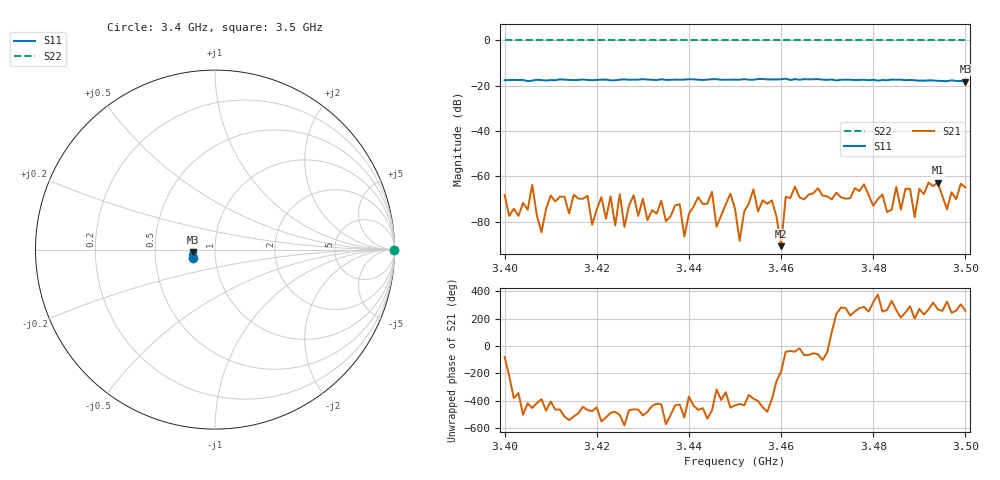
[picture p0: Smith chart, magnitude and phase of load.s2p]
!Created with skrf (http://scikit-rf.org).
# MHz S RI R 50.0
!freq ReS11 ImS11 ReS21 ImS21 ReS12 ImS12 ReS22 ImS22
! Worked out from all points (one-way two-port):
!   101 points, 3.4 GHz to 3.5 GHz, reference 50 ohm
!   highest |S21| = -62.74 dB at 3.494 GHz (marker M1); lowest = -90.8 dB at 3.46 GHz (marker M2)
!   lowest |S11| = -18.1 dB at 3.5 GHz (marker M3), VSWR 1.28, Z = 39 - j1.02 ohm
!   |S11| at or under -10 dB: start of sweep to end of sweep
!   |S22| runs from 0.0 to 0.0 dB; largest |S21 - S12| = 0.00073
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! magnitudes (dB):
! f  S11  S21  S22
! 3.4 GHz  -17.5  -68.2  0.0
! 3.403 GHz  -17.5  -77.5  0.0
! 3.406 GHz  -17.7  -63.8  0.0
! 3.408 GHz  -17.5  -84.7  0.0
! 3.417 GHz  -17.2  -69.9  0.0
! 3.419 GHz  -17.5  -81.4  0.0
! 3.421 GHz  -17.3  -69.2  0.0
! 3.424 GHz  -17.6  -81.7  0.0
! 3.425 GHz  -17.3  -67.9  0.0
! 3.426 GHz  -17.2  -82.4  0.0
! 3.428 GHz  -17.3  -68.4  0.0
! 3.431 GHz  -17.3  -79.3  0.0
! 3.434 GHz  -17.1  -70.7  0.0
! 3.45 GHz  -17.3  -74.3  0.0
! 3.454 GHz  -17.4  -65.7  0.0
! 3.46 GHz  -17.1  -90.8  0.0
! 3.463 GHz  -17.1  -64.5  0.0
! 3.467 GHz  -17.1  -67.5  0.0
! 3.484 GHz  -17.3  -74.8  0.0
! 3.494 GHz  -17.8  -62.7  0.0
! 3.496 GHz  -18.0  -74.6  0.0
! 3.5 GHz  -18.1  -64.9  0.0
